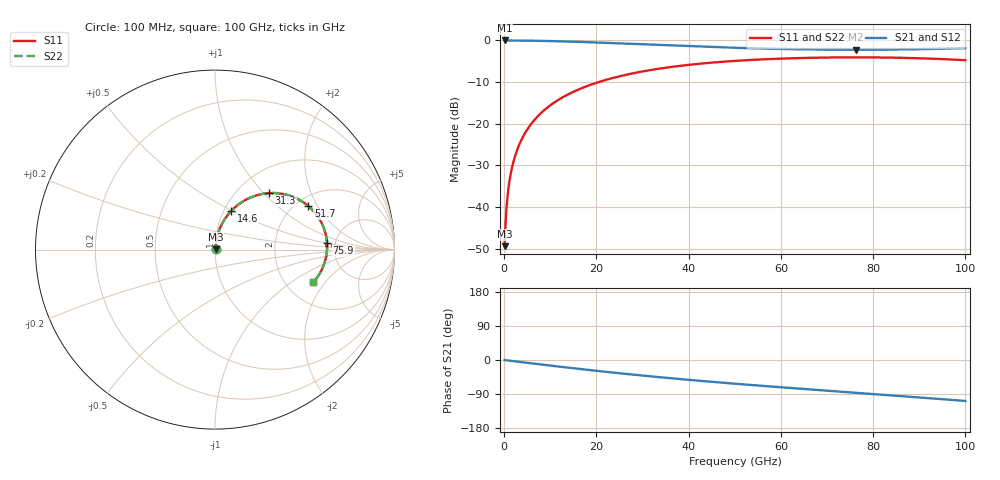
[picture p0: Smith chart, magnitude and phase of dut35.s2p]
! Touchstone file exported from HFSS 2026.1.0
!  File:  C:/ffzhzh/LocalFiles/Ansys_Project_Files/temp_train_RDL_35_1783498069_55944.aedt
!  Generated:  04:08:57 PM Jul  8, 2026
!  Design:  RDL
!  Project:  temp_train_RDL_35_1783498069_55944
! Variables:
!  h_bsmrdl = 2um
!  h_ox = 20um
!  h_rdl = 5um
!  h_sub = 80um
!  h_tmrdl = 2.56um
!  h_tsv = 80um
!  h_via = 3um
!  l_bsmrdl = 300um
!  l_sub = 757.63um
!  l_tmrdl = 357.63um
!  m_sub = 200um
!  pitch = 50.03um
!  r_tsv = 6um
!  s_tmrdl = 10um
!  w_bsmrdl = 18um
!  w_sub = 500um
!  w_tmrdl = 19.05um
!  x_tsv_center1 = 367.155um
!  x_tsv_center2 = 685.155um
!  x_tsv_center3 = 1061.835um
!  x_tsv_center4 = 1379.835um
!  x_tsv_center5 = 1756.515um
!  x_tsv_center6 = 2074.515um
# GHz S MA R 50.000000
! Terminal data exported
! Port[1] = TM_RDL1_1_T1
! Port[2] = TM_RDL1_1_T2
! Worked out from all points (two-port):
!   1000 points, 100 MHz to 100 GHz, reference 50 ohm
!   highest |S21| = -0.02 dB at 100 MHz (marker M1); lowest = -2.3 dB at 76.3 GHz (marker M2)
!   |S21| within 3 dB of the highest: start of sweep to end of sweep
!   lowest |S11| = -49.4 dB at 100 MHz (marker M3), VSWR 1.01, Z = 50.3 + j0.185 ohm
!   |S11| at or under -10 dB: start of sweep to 20.54 GHz
!   |S22| runs from -49.4 to -4.1 dB; largest |S21 - S12| = 1.4e-14
!   S11 on the Smith chart (normalised r, x): 100 MHz: 1.01, +0.00; 14.6 GHz: 1.08, +0.50; 31.3 GHz: 1.38, +1.07; 51.7 GHz: 2.33, +1.68; 75.9 GHz: 4.27, +0.50; 100 GHz: 2.81, -1.53
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0.1  0.003384 32.9  0.9972 -0.2  0.9972 -0.2  0.003384 32.9
! Gamma 0 0 0 0
! Port Impedance 50 0 50 0
0.4  0.007852 66.3  0.9969 -0.6  0.9969 -0.6  0.007852 66.3
0.9  0.01613 76.4  0.9965 -1.4  0.9965 -1.4  0.01613 76.4
1.4  0.02448 79.5  0.9961 -2.1  0.9961 -2.1  0.02448 79.5
1.9  0.03288 80.7  0.9958 -2.9  0.9958 -2.9  0.03288 80.7
2.4  0.0413 81.2  0.9954 -3.6  0.9954 -3.6  0.0413 81.2
3.7  0.06318 80.8  0.994 -5.5  0.994 -5.5  0.06318 80.8
5.6  0.09486 79.0  0.9911 -8.3  0.9911 -8.3  0.09486 79.0
8  0.1341 76.0  0.9859 -11.9  0.9859 -11.9  0.1341 76.0
11  0.1814 71.9  0.9774 -16.2  0.9774 -16.2  0.1814 71.9
14.6  0.2353 67.1  0.9649 -21.2  0.9649 -21.2  0.2353 67.1
16.8  0.2665 64.1  0.9563 -24.2  0.9563 -24.2  0.2665 64.2
23.3  0.3503 55.8  0.9279 -32.8  0.9279 -32.8  0.3503 55.8
31.3  0.436 46.2  0.8905 -42.6  0.8905 -42.6  0.436 46.2
33.4  0.4553 43.8  0.8808 -45.0  0.8808 -45.0  0.4553 43.9
50.1  0.567 26.4  0.8141 -62.6  0.8141 -62.6  0.567 26.5
51.7  0.5743 24.9  0.8091 -64.2  0.8091 -64.2  0.5743 25.0
66.7  0.6178 11.3  0.7771 -78.0  0.7771 -78.0  0.6178 11.4
75.9  0.6252 3.3  0.7712 -86.2  0.7712 -86.2  0.6252 3.4
76.3  0.6252 2.9  0.7712 -86.5  0.7712 -86.5  0.6252 3.0
83.4  0.621 -3.3  0.7744 -92.8  0.7744 -92.8  0.621 -3.2
100  0.5771 -18.3  0.8062 -108.2  0.8062 -108.2  0.5771 -18.2
